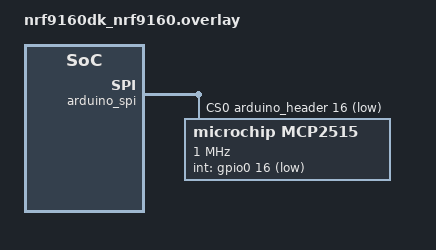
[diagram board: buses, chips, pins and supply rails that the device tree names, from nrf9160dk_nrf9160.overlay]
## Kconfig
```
# Private config options for can sample app

# Copyright (c) 2018 Alexander Wachter
# SPDX-License-Identifier: Apache-2.0

mainmenu "Controller Area Network sample application"

# config LOOPBACK_MODE
# 	bool "Loopback LOOPBACK_MODE"
# 	default y
# 	help
# 	  Set the controller to loopback mode.
# 	  This allows testing without a second board.

source "Kconfig.zephyr"
```

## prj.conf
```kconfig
CONFIG_POLL=y
CONFIG_SPI=y
CONFIG_CAN=y
CONFIG_CAN_MCP2515=y
CONFIG_CAN_INIT_PRIORITY=80
CONFIG_CAN_MAX_FILTER=5

CONFIG_SHELL=y
CONFIG_CAN_SHELL=y
CONFIG_DEVICE_SHELL=y
CONFIG_SHELL_ARGC_MAX=13

CONFIG_GPIO=y
CONFIG_STATS=y
CONFIG_STATS_NAMES=y
CONFIG_STATS_SHELL=y
CONFIG_CAN_STATS=y
```

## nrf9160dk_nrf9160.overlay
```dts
// To get started, press Ctrl+Space to bring up the completion menu and view the available nodes.

// You can also use the buttons in the sidebar to perform actions on nodes.
// Actions currently available include:

// * Enabling / disabling the node
// * Adding the bus to a bus
// * Removing the node
// * Connecting ADC channels

// For more help, browse the DeviceTree documentation at https://docs.zephyrproject.org/latest/guides/dts/index.html
// You can also visit the nRF DeviceTree extension documentation at https://nrfconnect.github.io/vscode-nrf-connect/devicetree/nrfdevicetree.html
&arduino_spi {
	status = "okay";
	cs-gpios = <&arduino_header 16 GPIO_ACTIVE_LOW>; /* D10 */

	mcp2515: can@0 {
		compatible = "microchip,mcp2515";
		spi-max-frequency = <1000000>;
		int-gpios = <&gpio0 16 GPIO_ACTIVE_LOW>; /* P0.16 */
		status = "okay";
		reg = <0x0>;
		osc-freq = <8000000>;
		bus-speed = <250000>;
		sjw = <1>;
		sample-point = <875>;

		can-transceiver {
			max-bitrate = <1000000>;
		};
	};
};

/ {
	chosen {
		zephyr,canbus = &mcp2515;
	};
};
```

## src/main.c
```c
/*
 * Copyright (c) 2018 Alexander Wachter
 *
 * SPDX-License-Identifier: Apache-2.0
 */

#include <zephyr/kernel.h>
#include <zephyr/sys/printk.h>
#include <zephyr/device.h>
#include <zephyr/drivers/can.h>
#include <zephyr/drivers/gpio.h>
#include <zephyr/sys/byteorder.h>

#define RX_THREAD_STACK_SIZE 512
#define RX_THREAD_PRIORITY 2
#define STATE_POLL_THREAD_STACK_SIZE 512
#define STATE_POLL_THREAD_PRIORITY 2
#define LED_MSG_ID 0x10
#define COUNTER_MSG_ID 0x12345
#define SET_LED 1
#define RESET_LED 0
#define SLEEP_TIME K_MSEC(250)

K_THREAD_STACK_DEFINE(rx_thread_stack, RX_THREAD_STACK_SIZE);
K_THREAD_STACK_DEFINE(poll_state_stack, STATE_POLL_THREAD_STACK_SIZE);

const struct device *can_dev = DEVICE_DT_GET(DT_CHOSEN(zephyr_canbus));
struct gpio_dt_spec led = GPIO_DT_SPEC_GET_OR(DT_ALIAS(led0), gpios, {0});

struct k_thread rx_thread_data;
struct k_thread poll_state_thread_data;
struct k_work_poll change_led_work;
struct k_work state_change_work;
enum can_state current_state;
struct can_bus_err_cnt current_err_cnt;

CAN_MSGQ_DEFINE(change_led_msgq, 2);
CAN_MSGQ_DEFINE(counter_msgq, 2);

static struct k_poll_event change_led_events[1] = {
	K_POLL_EVENT_STATIC_INITIALIZER(K_POLL_TYPE_MSGQ_DATA_AVAILABLE,
					K_POLL_MODE_NOTIFY_ONLY,
					&change_led_msgq, 0)
};

void tx_irq_callback(const struct device *dev, int error, void *arg)
{
	char *sender = (char *)arg;

	ARG_UNUSED(dev);

	if (error != 0) {
		printk("Callback! error-code: %d\nSender: %s\n",
		       error, sender);
	}
}

void rx_thread(void *arg1, void *arg2, void *arg3)
{
	ARG_UNUSED(arg1);
	ARG_UNUSED(arg2);
	ARG_UNUSED(arg3);
	const struct zcan_filter filter = {
		.id_type = CAN_EXTENDED_IDENTIFIER,
		.rtr = CAN_DATAFRAME,
		.id = COUNTER_MSG_ID,
		.rtr_mask = 1,
		.id_mask = CAN_EXT_ID_MASK
	};
	struct zcan_frame msg;
	int filter_id;

	filter_id = can_add_rx_filter_msgq(can_dev, &counter_msgq, &filter);
	printk("Counter filter id: %d\n", filter_id);

	while (1) {
		k_msgq_get(&counter_msgq, &msg, K_FOREVER);

		if (msg.dlc != 2U) {
			printk("Wrong data length: %u\n", msg.dlc);
			continue;
		}

		printk("Counter received: %u\n",
		       sys_be16_to_cpu(UNALIGNED_GET((uint16_t *)&msg.data)));
	}
}

void change_led_work_handler(struct k_work *work)
{
	struct zcan_frame frame;
	int ret;

	while (k_msgq_get(&change_led_msgq, &frame, K_NO_WAIT) == 0) {
		if (led.port == NULL) {
			printk("LED %s\n", frame.data[0] == SET_LED ? "ON" : "OFF");
		} else {
			gpio_pin_set(led.port, led.pin, frame.data[0] == SET_LED ? 1 : 0);
		}
	}

	ret = k_work_poll_submit(&change_led_work, change_led_events,
				 ARRAY_SIZE(change_led_events), K_FOREVER);
	if (ret != 0) {
		printk("Failed to resubmit msgq polling: %d", ret);
	}
}

char *state_to_str(enum can_state state)
{
	switch (state) {
	case CAN_ERROR_ACTIVE:
		return "error-active";
	case CAN_ERROR_WARNING:
		return "error-warning";
	case CAN_ERROR_PASSIVE:
		return "error-passive";
	case CAN_BUS_OFF:
		return "bus-off";
	default:
		return "unknown";
	}
}

void poll_state_thread(void *unused1, void *unused2, void *unused3)
{
	struct can_bus_err_cnt err_cnt = {0, 0};
	struct can_bus_err_cnt err_cnt_prev = {0, 0};
	enum can_state state_prev = CAN_ERROR_ACTIVE;
	enum can_state state;
	int err;

	while (1) {
		err = can_get_state(can_dev, &state, &err_cnt);
		if (err != 0) {
			printk("Failed to get CAN controller state: %d", err);
			k_sleep(K_MSEC(100));
			continue;
		}

		if (err_cnt.tx_err_cnt != err_cnt_prev.tx_err_cnt ||
		    err_cnt.rx_err_cnt != err_cnt_prev.rx_err_cnt ||
		    state_prev != state) {

			err_cnt_prev.tx_err_cnt = err_cnt.tx_err_cnt;
			err_cnt_prev.rx_err_cnt = err_cnt.rx_err_cnt;
			state_prev = state;
			printk("state: %s\n"
			       "rx error count: %d\n"
			       "tx error count: %d\n",
			       state_to_str(state),
			       err_cnt.rx_err_cnt, err_cnt.tx_err_cnt);
		} else {
			k_sleep(K_MSEC(100));
		}
	}
}

void state_change_work_handler(struct k_work *work)
{
	printk("State Change ISR\nstate: %s\n"
	       "rx error count: %d\n"
	       "tx error count: %d\n",
		state_to_str(current_state),
		current_err_cnt.rx_err_cnt, current_err_cnt.tx_err_cnt);

#ifndef CONFIG_CAN_AUTO_BUS_OFF_RECOVERY
	if (current_state == CAN_BUS_OFF) {
		printk("Recover from bus-off\n");

		if (can_recover(can_dev, K_MSEC(100)) != 0) {
			printk("Recovery timed out\n");
		}
	}
#endif /* CONFIG_CAN_AUTO_BUS_OFF_RECOVERY */
}

void state_change_callback(const struct device *dev, enum can_state state,
			   struct can_bus_err_cnt err_cnt, void *user_data)
{
	struct k_work *work = (struct k_work *)user_data;

	ARG_UNUSED(dev);

	current_state = state;
	current_err_cnt = err_cnt;
	k_work_submit(work);
}

void main(void)
{
	const struct zcan_filter change_led_filter = {
		.id_type = CAN_STANDARD_IDENTIFIER,
		.rtr = CAN_DATAFRAME,
		.id = LED_MSG_ID,
		.rtr_mask = 1,
		.id_mask = CAN_STD_ID_MASK
	};
	struct zcan_frame change_led_frame = {
		.id_type = CAN_STANDARD_IDENTIFIER,
		.rtr = CAN_DATAFRAME,
		.id = LED_MSG_ID,
		.dlc = 1
	};
	struct zcan_frame counter_frame = {
		.id_type = CAN_EXTENDED_IDENTIFIER,
		.rtr = CAN_DATAFRAME,
		.id = COUNTER_MSG_ID,
		.dlc = 2
	};
	uint8_t toggle = 1;
	uint16_t counter = 0;
	k_tid_t rx_tid, get_state_tid;
	int ret;

	if (!device_is_ready(can_dev)) {
		printk("CAN: Device %s not ready.\n", can_dev->name);
		return;
	}

#ifdef CONFIG_LOOPBACK_MODE
	ret = can_set_mode(can_dev, CAN_MODE_LOOPBACK);
	if (ret != 0) {
		printk("Error setting CAN mode [%d]", ret);
		return;
	}
#else
	ret = can_set_mode(can_dev, CAN_MODE_NORMAL);
	if (ret != 0) {
		printk("Error setting CAN mode [%d]", ret);
		return;
	}
#endif

	if (led.port != NULL) {
		if (!device_is_ready(led.port)) {
			printk("LED: Device %s not ready.\n",
			       led.port->name);
			return;
		}
		ret = gpio_pin_configure_dt(&led, GPIO_OUTPUT_HIGH);
		if (ret < 0) {
			printk("Error setting LED pin to output mode [%d]",
			       ret);
			led.port = NULL;
		}
	}

	k_work_init(&state_change_work, state_change_work_handler);
	k_work_poll_init(&change_led_work, change_led_work_handler);

	ret = can_add_rx_filter_msgq(can_dev, &change_led_msgq, &change_led_filter);
	if (ret == -ENOSPC) {
		printk("Error, no filter available!\n");
		return;
	}

	printk("Change LED filter ID: %d\n", ret);

	ret = k_work_poll_submit(&change_led_work, change_led_events,
				 ARRAY_SIZE(change_led_events), K_FOREVER);
	if (ret != 0) {
		printk("Failed to submit msgq polling: %d", ret);
		return;
	}

	rx_tid = k_thread_create(&rx_thread_data, rx_thread_stack,
				 K_THREAD_STACK_SIZEOF(rx_thread_stack),
				 rx_thread, NULL, NULL, NULL,
				 RX_THREAD_PRIORITY, 0, K_NO_WAIT);
	if (!rx_tid) {
		printk("ERROR spawning rx thread\n");
	}

	get_state_tid = k_thread_create(&poll_state_thread_data,
					poll_state_stack,
					K_THREAD_STACK_SIZEOF(poll_state_stack),
					poll_state_thread, NULL, NULL, NULL,
					STATE_POLL_THREAD_PRIORITY, 0,
					K_NO_WAIT);
	if (!get_state_tid) {
		printk("ERROR spawning poll_state_thread\n");
	}

	can_set_state_change_callback(can_dev, state_change_callback, &state_change_work);

	printk("Finished init.\n");

	while (1) {
		change_led_frame.data[0] = toggle++ & 0x01 ? SET_LED : RESET_LED;
		/* This sending call is none blocking. */
		can_send(can_dev, &change_led_frame, K_FOREVER,
			 tx_irq_callback,
			 "LED change");
		k_sleep(SLEEP_TIME);

		UNALIGNED_PUT(sys_cpu_to_be16(counter),
			      (uint16_t *)&counter_frame.data[0]);
		counter++;
		/* This sending call is blocking until the message is sent. */
		can_send(can_dev, &counter_frame, K_MSEC(100), NULL, NULL);
		k_sleep(SLEEP_TIME);
	}
}
```
